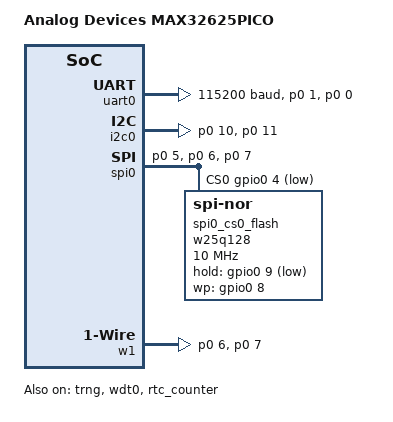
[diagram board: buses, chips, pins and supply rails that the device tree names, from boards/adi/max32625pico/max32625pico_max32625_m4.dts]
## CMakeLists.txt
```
# SPDX-License-Identifier: Apache-2.0

cmake_minimum_required(VERSION 3.20.0)
find_package(Zephyr REQUIRED HINTS $ENV{ZEPHYR_BASE})
project(i2c_test_tool)

target_sources(app PRIVATE src/main.c)
target_include_directories(app PRIVATE src)
# Enable parallel build
set(CMAKE_BUILD_PARALLEL_LEVEL 8)
set_property(GLOBAL APPEND PROPERTY
  EXTRA_CFLAGS "-flto -Os"
)
```

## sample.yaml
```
sample:
  name: Blinky Sample
tests:
  sample.basic.blinky:
    tags:
      - LED
      - gpio
    filter: dt_enabled_alias_with_parent_compat("led0", "gpio-leds")
    depends_on: gpio hal_st
    harness: led
    integration_platforms:
      - frdm_k64f
```

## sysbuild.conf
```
SB_CONFIG_BOOTLOADER_MCUBOOT=n
SB_CONFIG_MCUBOOT_MODE_SINGLE_APP=n
```

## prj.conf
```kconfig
CONFIG_GPIO=y
CONFIG_I2C=y
#CONFIG_PWM=y
CONFIG_LED=y

CONFIG_LOG=y
CONFIG_CONSOLE=y
CONFIG_UART_CONSOLE=y
CONFIG_LOG_MODE_IMMEDIATE=y
# CONFIG_MAIN_STACK_SIZE=2048

CONFIG_SHELL_PROMPT_UART="qntool:~$ "
CONFIG_FLASH=y
CONFIG_SHELL=y
CONFIG_I2C_SHELL=y
CONFIG_SHELL_BACKEND_SERIAL=y
#CONFIG_SHELL_CMD_BUFF_SIZE=128
#CONFIG_SHELL_PRINTF_BUFF_SIZE=64
```

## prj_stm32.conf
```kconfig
CONFIG_GPIO=y
CONFIG_I2C=n
#CONFIG_PWM=y
CONFIG_LED=n

CONFIG_LOG=y
CONFIG_CONSOLE=y
CONFIG_UART_CONSOLE=y
CONFIG_LOG_MODE_IMMEDIATE=n
# CONFIG_MAIN_STACK_SIZE=2048

#CONFIG_SHELL_PROMPT_UART="qntool:~$ "
CONFIG_FLASH=y
CONFIG_SHELL=n
CONFIG_I2C_SHELL=n
CONFIG_SHELL_BACKEND_SERIAL=y
CONFIG_SHELL_CMDS=n
CONFIG_SHELL_HELP=n
CONFIG_SHELL_STATS=n
CONFIG_PRINTK=y
CONFIG_SHELL_VT100_COLORS=n
CONFIG_SHELL_CMD_BUFF_SIZE=128
CONFIG_SHELL_PRINTF_BUFF_SIZE=64
```

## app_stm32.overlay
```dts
/ {
	chosen {
		zephyr,console = &usart2;
		zephyr,shell-uart = &usart2;
		// zephyr,code-partition = &slot0_partition;
	};

};

&usart2 {
	// pinctrl-0 = <&usart2_tx_pb6 &usart2_rx_pb7>;
	pinctrl-0 = <&usart2_tx_pa2 &usart2_rx_pa15>;//default on nucleo board
	pinctrl-names = "default";
	current-speed = <115200>;
	status = "okay";
};

&i2c1 {
	pinctrl-0 = <&i2c1_scl_pa9 &i2c1_sda_pa10>;
	pinctrl-names = "default";
	clock-frequency = <I2C_BITRATE_STANDARD>;
	status = "okay";
};
```

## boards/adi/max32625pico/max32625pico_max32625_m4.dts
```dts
/*
 * Copyright (c) 2023-2025 Analog Devices, Inc.
 *
 * SPDX-License-Identifier: Apache-2.0
 */

/dts-v1/;

 #include <adi/max32/max32655.dtsi>
 #include <adi/max32/max32655-pinctrl.dtsi>
 #include <zephyr/dt-bindings/gpio/adi-max32-gpio.h>
#include <zephyr/dt-bindings/input/input-event-codes.h>

/ {
	 model = "Analog Devices MAX32625PICO";
	 compatible = "adi,max32655evkit";

	 chosen {
		 zephyr,console = &uart0;
		 zephyr,shell-uart = &uart0;
		 zephyr,sram = &sram2;
		 zephyr,flash = &flash0;
	 };

	//  leds {
	// 	 compatible = "gpio-leds";
	// 	 led1: led_1 {
	// 		 gpios = <&gpio0 24 GPIO_ACTIVE_LOW>;
	// 		 label = "Red LED";
	// 	 };
	// 	 led2: led_2 {
	// 		 gpios = <&gpio0 25 GPIO_ACTIVE_LOW>;
	// 		 label = "Blue LED";
	// 	 };
	//  };

	//  buttons {
	// 	 compatible = "gpio-keys";
	// 	 pb1: pb1 {
	// 		 gpios = <&gpio0 18 (GPIO_PULL_UP | GPIO_ACTIVE_LOW)>;
	// 		 label = "SW2";
	// 		 zephyr,code = <INPUT_KEY_0>;
	// 	 };
	// 	 pb2: pb2 {
	// 		 gpios = <&gpio0 19 (GPIO_PULL_UP | GPIO_ACTIVE_LOW)>;
	// 		 label = "SW3";
	// 		 zephyr,code = <INPUT_KEY_1>;
	// 	 };
	// 	 pb_wakeup: pb_wakeup {
	// 		gpios = <&gpio3 1 (GPIO_PULL_UP | GPIO_ACTIVE_LOW
	// 							| MAX32_GPIO_VSEL_VDDIOH)>;
	// 		label = "Wakeup";
	// 		zephyr,code = <INPUT_KEY_WAKEUP>;
	// 	};
	//  };

	 /* These aliases are provided for compatibility with samples */
	 aliases {
		// led0 = &led1;
		// led1 = &led2;
		// sw0 = &pb1;
		// sw1 = &pb2;
		watchdog0 = &wdt0;
	 };
};

&uart0 {
	pinctrl-0 = <&uart0a_tx_p0_1 &uart0a_rx_p0_0>;
	pinctrl-names = "default";
	current-speed = <115200>;
	data-bits = <8>;
	parity = "none";
	status = "okay";
};

&clk_ipo {
	status = "okay";
};

/*
 * ERTCO is required for counter RTC
 */
&clk_ertco {
	status = "okay";
};

&gpio0 {
	status = "okay";
};

&gpio1 {
	status = "okay";
};

&gpio2 {
	status = "okay";
};

&gpio3 {
	status = "okay";
};

&trng {
	status = "okay";
};

&i2c0 {
	status = "okay";
	pinctrl-0 = <&i2c0_scl_p0_10 &i2c0_sda_p0_11>;
	pinctrl-names = "default";
};

&dma0 {
	status = "okay";
};

&wdt0 {
	status = "okay";
};

&spi0 {
	status = "okay";
	pinctrl-0 = <&spi0_mosi_p0_5 &spi0_miso_p0_6 &spi0_sck_p0_7 &spi0_ss0_p0_4>;
	pinctrl-names = "default";
};

&w1 {
	pinctrl-0 = <&owm_io_p0_6 &owm_pe_p0_7>;
	pinctrl-names = "default";
};

&rtc_counter {
	status = "okay";
};

&spi0_mosi_p0_5 {
	power-source = <MAX32_VSEL_VDDIOH>;
};

&spi0_miso_p0_6 {
	power-source = <MAX32_VSEL_VDDIOH>;
};

&spi0_sck_p0_7 {
	power-source = <MAX32_VSEL_VDDIOH>;
};

&spi0 {
	status = "okay";
	pinctrl-0 = <&spi0_mosi_p0_5 &spi0_miso_p0_6 &spi0_sck_p0_7>;
	pinctrl-names = "default";
	cs-gpios = <&gpio0 4 (GPIO_ACTIVE_LOW | MAX32_GPIO_VSEL_VDDIOH)>;

	spi0_cs0_flash: w25q128@0 {
		compatible = "jedec,spi-nor";
		/* 134217728 bits = 16 Mbytes */
		size = <0x8000000>;
		reg = <0>;
		spi-max-frequency = <10000000>;
		jedec-id = [ef 40 18];
		hold-gpios = <&gpio0 9 (GPIO_ACTIVE_LOW | MAX32_GPIO_VSEL_VDDIOH)>;
		wp-gpios = <&gpio0 8 (GPIO_ACTIVE_HIGH | MAX32_GPIO_VSEL_VDDIOH)>;
		status = "okay";
	};
};
```

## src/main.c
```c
/*
 * Copyright (c) 2016 Intel Corporation
 *
 * SPDX-License-Identifier: Apache-2.0
 */

#include <stdio.h>
#include <zephyr/kernel.h>
#include <zephyr/drivers/gpio.h>
#include <zephyr/logging/log.h>
#include "qntool_config.h"

LOG_MODULE_REGISTER(MAIN, CONFIG_LOG_DEFAULT_LEVEL);

/* 1000 msec = 1 sec */
#define SLEEP_TIME_MS   1000
int main(void)
{
	int ret = 0;
	int count=0;
	printk("qntool, version %s\n", QNTOOL_FW_VERSION_STR);
	// printk("qntool,hello world!\n");
	
	// while (1) {
	// 	k_msleep(SLEEP_TIME_MS);
	// 	printk("running %d\n", count++);
	// }
	return 0;
}
```

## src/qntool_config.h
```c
#ifndef QNTOOL_CONFIG_H
#define QNTOOL_CONFIG_H
#include "qntool_fw_version.h"

#endif // QNTOOL_CONFIG_H
```

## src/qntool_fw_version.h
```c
  #ifndef QNTOOL_FW_VERSION_H
  #define QNTOOL_FW_VERSION_H

  #define QNTOOL_FW_VERSION_MAJOR    0
  #define QNTOOL_FW_VERSION_MINOR    0
  #define QNTOOL_FW_VERSION_PATCH    2

  #define QNTOOL_FW_VERSION          ((QNTOOL_FW_VERSION_MAJOR << 16) | \
                                    (QNTOOL_FW_VERSION_MINOR << 8)  | \
                                    (QNTOOL_FW_VERSION_PATCH))

  #define QNTOOL_FW_VERSION_STR      XSTRINGIFY(QNTOOL_FW_VERSION_MAJOR) "." \
                                    XSTRINGIFY(QNTOOL_FW_VERSION_MINOR) "." \
                                    XSTRINGIFY(QNTOOL_FW_VERSION_PATCH)
  #define STRINGIFY(x)              #x
  #define XSTRINGIFY(x)            STRINGIFY(x)

  #endif /* QNTOOL_FW_VERSION_H */
```
